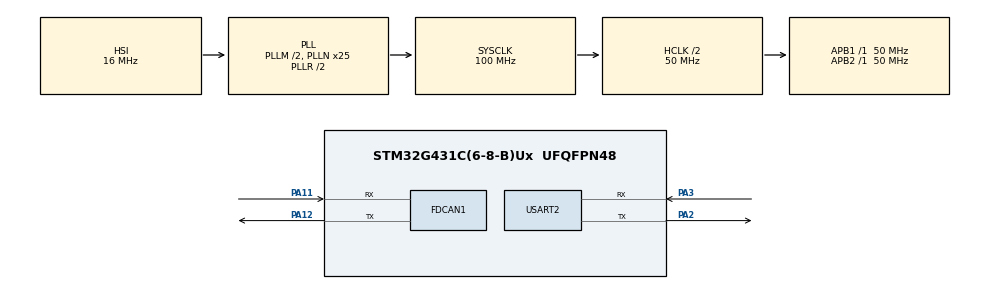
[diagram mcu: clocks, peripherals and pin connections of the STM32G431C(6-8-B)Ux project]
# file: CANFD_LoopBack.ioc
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FDCAN1.CalculateBaudRateNominal=500000
FDCAN1.CalculateTimeBitNominal=2000
FDCAN1.CalculateTimeQuantumNominal=20.0
FDCAN1.DataPrescaler=2
FDCAN1.DataSyncJumpWidth=12
FDCAN1.DataTimeSeg1=12
FDCAN1.DataTimeSeg2=12
FDCAN1.FrameFormat=FDCAN_FRAME_FD_NO_BRS
FDCAN1.Mode=FDCAN_MODE_EXTERNAL_LOOPBACK
FDCAN1.NominalPrescaler=1
FDCAN1.NominalSyncJumpWidth=13
FDCAN1.NominalTimeSeg1=86
FDCAN1.NominalTimeSeg2=13
FDCAN1.StdFiltersNbr=1
Mcu.Family=STM32G4
Mcu.Name=STM32G431C(6-8-B)Ux
Mcu.Package=UFQFPN48
NVIC.PriorityGroup=NVIC_PRIORITYGROUP_4
PA11.Mode=FDCAN_Activate
PA11.Signal=FDCAN1_RX
PA12.Mode=FDCAN_Activate
PA12.Signal=FDCAN1_TX
PA2.Mode=Asynchronous
PA2.Signal=USART2_TX
PA3.Mode=Asynchronous
PA3.Signal=USART2_RX
PF0-OSC_IN.Mode=HSE-External-Oscillator
PF0-OSC_IN.Signal=RCC_OSC_IN
PF1-OSC_OUT.Mode=HSE-External-Oscillator
PF1-OSC_OUT.Signal=RCC_OSC_OUT
ProjectManager.HeapSize=0x200
ProjectManager.StackSize=0x400
ProjectManager.TargetToolchain=STM32CubeIDE
RCC.ADC12Freq_Value=100000000
RCC.AHBCLKDivider=RCC_SYSCLK_DIV2
RCC.AHBFreq_Value=50000000
RCC.APB1Freq_Value=50000000
RCC.APB1TimFreq_Value=50000000
RCC.APB2Freq_Value=50000000
RCC.APB2TimFreq_Value=50000000
RCC.CortexFreq_Value=50000000
RCC.EXTERNAL_CLOCK_VALUE=12288000
RCC.HCLKFreq_Value=50000000
RCC.HSE_VALUE=8000000
RCC.HSI48_VALUE=48000000
RCC.HSI_VALUE=16000000
RCC.LSE_VALUE=32768
RCC.PLLM=RCC_PLLM_DIV2
RCC.PLLN=25
RCC.SYSCLKFreq_VALUE=100000000
RCC.SYSCLKSource=RCC_SYSCLKSOURCE_PLLCLK
RCC.USBFreq_Value=100000000
RCC.VCOOutputFreq_Value=200000000
USART2.VirtualMode-Asynchronous=VM_ASYNC
board=custom

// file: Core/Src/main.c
/* USER CODE BEGIN Header */
/**
  ******************************************************************************
  * @file           : main.c
  * @brief          : Main program body
  ******************************************************************************
  * @attention
  *
  * Copyright (c) 2023 STMicroelectronics.
  * All rights reserved.
  *
  * This software is licensed under terms that can be found in the LICENSE file
  * in the root directory of this software component.
  * If no LICENSE file comes with this software, it is provided AS-IS.
  *
  ******************************************************************************
  */
/* USER CODE END Header */
#include "main.h"

FDCAN_HandleTypeDef hfdcan1;

UART_HandleTypeDef huart2;

/* USER CODE BEGIN PV */
FDCAN_FilterTypeDef sFilterConfig;
FDCAN_TxHeaderTypeDef TxHeader;
FDCAN_RxHeaderTypeDef RxHeader;
uint8_t TxData[] = {0x10, 0x32, 0x54, 0x76, 0x98, 0x00, 0x11, 0x22, 0x33, 0x44, 0x55, 0x66};
uint8_t RxData[12];

/* USER CODE END PV */

void SystemClock_Config(void);
static void MX_GPIO_Init(void);
static void MX_FDCAN1_Init(void);
static void MX_USART2_UART_Init(void);

int main(void)
{

  /* MCU Configuration--------------------------------------------------------*/

  /* Reset of all peripherals, Initializes the Flash interface and the Systick. */
  HAL_Init();

  /* Configure the system clock */
  SystemClock_Config();

  /* Initialize all configured peripherals */
  MX_GPIO_Init();
  MX_FDCAN1_Init();
  MX_USART2_UART_Init();
  /* USER CODE BEGIN 2 */
  /* Configure standard ID reception filter to Rx buffer 0 */
   sFilterConfig.IdType = FDCAN_STANDARD_ID;
   sFilterConfig.FilterIndex = 0;
   sFilterConfig.FilterType = FDCAN_FILTER_DUAL;
   sFilterConfig.FilterConfig = FDCAN_FILTER_TO_RXFIFO0;
   sFilterConfig.FilterID1 = 0x111;
   sFilterConfig.FilterID2 = 0x0; // This parameter is ignored if FilterConfig is set to FDCAN_FILTER_TO_RXBUFFER.
   HAL_FDCAN_ConfigFilter(&hfdcan1, &sFilterConfig);

   /* Configure Tx buffer message */
   TxHeader.Identifier = 0x111;
   TxHeader.IdType = FDCAN_STANDARD_ID;
   TxHeader.TxFrameType = FDCAN_DATA_FRAME;
   TxHeader.DataLength = FDCAN_DLC_BYTES_12;
   TxHeader.ErrorStateIndicator = FDCAN_ESI_ACTIVE;
   TxHeader.BitRateSwitch = FDCAN_BRS_ON;
   TxHeader.FDFormat = FDCAN_FD_CAN;
   TxHeader.TxEventFifoControl = FDCAN_NO_TX_EVENTS;
   TxHeader.MessageMarker = 0x00; // Ignore because FDCAN_NO_TX_EVENTS
   HAL_FDCAN_AddMessageToTxFifoQ(&hfdcan1, &TxHeader, TxData);

   /* Start the FDCAN module */
   HAL_FDCAN_Start(&hfdcan1);

   /* Send Tx buffer message */

   /* Polling for transmission complete */
   while(HAL_FDCAN_IsTxBufferMessagePending(&hfdcan1, FDCAN_TX_BUFFER0));

     /* Retrieve message from Rx buffer 0 */
   HAL_FDCAN_GetRxMessage(&hfdcan1, FDCAN_TX_BUFFER0, &RxHeader, RxData);
  /* USER CODE END 2 */

  /* Infinite loop */
  while (1)
  {

  }
}

void SystemClock_Config(void)
{
  RCC_OscInitTypeDef RCC_OscInitStruct = {0};
  RCC_ClkInitTypeDef RCC_ClkInitStruct = {0};

  /** Configure the main internal regulator output voltage
  */
  HAL_PWREx_ControlVoltageScaling(PWR_REGULATOR_VOLTAGE_SCALE1);

  /** Initializes the RCC Oscillators according to the specified parameters
  * in the RCC_OscInitTypeDef structure.
  */
  RCC_OscInitStruct.OscillatorType = RCC_OSCILLATORTYPE_HSI;
  RCC_OscInitStruct.HSIState = RCC_HSI_ON;
  RCC_OscInitStruct.HSICalibrationValue = RCC_HSICALIBRATION_DEFAULT;
  RCC_OscInitStruct.PLL.PLLState = RCC_PLL_ON;
  RCC_OscInitStruct.PLL.PLLSource = RCC_PLLSOURCE_HSI;
  RCC_OscInitStruct.PLL.PLLM = RCC_PLLM_DIV2;
  RCC_OscInitStruct.PLL.PLLN = 25;
  RCC_OscInitStruct.PLL.PLLP = RCC_PLLP_DIV2;
  RCC_OscInitStruct.PLL.PLLQ = RCC_PLLQ_DIV2;
  RCC_OscInitStruct.PLL.PLLR = RCC_PLLR_DIV2;
  if (HAL_RCC_OscConfig(&RCC_OscInitStruct) != HAL_OK)
  {
    Error_Handler();
  }

  /** Initializes the CPU, AHB and APB buses clocks
  */
  RCC_ClkInitStruct.ClockType = RCC_CLOCKTYPE_HCLK|RCC_CLOCKTYPE_SYSCLK
                              |RCC_CLOCKTYPE_PCLK1|RCC_CLOCKTYPE_PCLK2;
  RCC_ClkInitStruct.SYSCLKSource = RCC_SYSCLKSOURCE_PLLCLK;
  RCC_ClkInitStruct.AHBCLKDivider = RCC_SYSCLK_DIV2;
  RCC_ClkInitStruct.APB1CLKDivider = RCC_HCLK_DIV1;
  RCC_ClkInitStruct.APB2CLKDivider = RCC_HCLK_DIV1;

  if (HAL_RCC_ClockConfig(&RCC_ClkInitStruct, FLASH_LATENCY_1) != HAL_OK)
  {
    Error_Handler();
  }
}

static void MX_FDCAN1_Init(void)
{

  hfdcan1.Instance = FDCAN1;
  hfdcan1.Init.ClockDivider = FDCAN_CLOCK_DIV1;
  hfdcan1.Init.FrameFormat = FDCAN_FRAME_FD_NO_BRS;
  hfdcan1.Init.Mode = FDCAN_MODE_EXTERNAL_LOOPBACK;
  hfdcan1.Init.AutoRetransmission = DISABLE;
  hfdcan1.Init.TransmitPause = DISABLE;
  hfdcan1.Init.ProtocolException = DISABLE;
  hfdcan1.Init.NominalPrescaler = 1;
  hfdcan1.Init.NominalSyncJumpWidth = 13;
  hfdcan1.Init.NominalTimeSeg1 = 86;
  hfdcan1.Init.NominalTimeSeg2 = 13;
  hfdcan1.Init.DataPrescaler = 2;
  hfdcan1.Init.DataSyncJumpWidth = 12;
  hfdcan1.Init.DataTimeSeg1 = 12;
  hfdcan1.Init.DataTimeSeg2 = 12;
  hfdcan1.Init.StdFiltersNbr = 1;
  hfdcan1.Init.ExtFiltersNbr = 0;
  hfdcan1.Init.TxFifoQueueMode = FDCAN_TX_FIFO_OPERATION;
  if (HAL_FDCAN_Init(&hfdcan1) != HAL_OK)
  {
    Error_Handler();
  }

}

static void MX_USART2_UART_Init(void)
{

  huart2.Instance = USART2;
  huart2.Init.BaudRate = 115200;
  huart2.Init.WordLength = UART_WORDLENGTH_8B;
  huart2.Init.StopBits = UART_STOPBITS_1;
  huart2.Init.Parity = UART_PARITY_NONE;
  huart2.Init.Mode = UART_MODE_TX_RX;
  huart2.Init.HwFlowCtl = UART_HWCONTROL_NONE;
  huart2.Init.OverSampling = UART_OVERSAMPLING_16;
  huart2.Init.OneBitSampling = UART_ONE_BIT_SAMPLE_DISABLE;
  huart2.Init.ClockPrescaler = UART_PRESCALER_DIV1;
  huart2.AdvancedInit.AdvFeatureInit = UART_ADVFEATURE_NO_INIT;
  if (HAL_UART_Init(&huart2) != HAL_OK)
  {
    Error_Handler();
  }
  if (HAL_UARTEx_SetTxFifoThreshold(&huart2, UART_TXFIFO_THRESHOLD_1_8) != HAL_OK)
  {
    Error_Handler();
  }
  if (HAL_UARTEx_SetRxFifoThreshold(&huart2, UART_RXFIFO_THRESHOLD_1_8) != HAL_OK)
  {
    Error_Handler();
  }
  if (HAL_UARTEx_DisableFifoMode(&huart2) != HAL_OK)
  {
    Error_Handler();
  }

}

static void MX_GPIO_Init(void)
{

  /* GPIO Ports Clock Enable */
  __HAL_RCC_GPIOF_CLK_ENABLE();
  __HAL_RCC_GPIOA_CLK_ENABLE();

}

void Error_Handler(void)
{
  __disable_irq();
  while (1)
  {
  }
}
